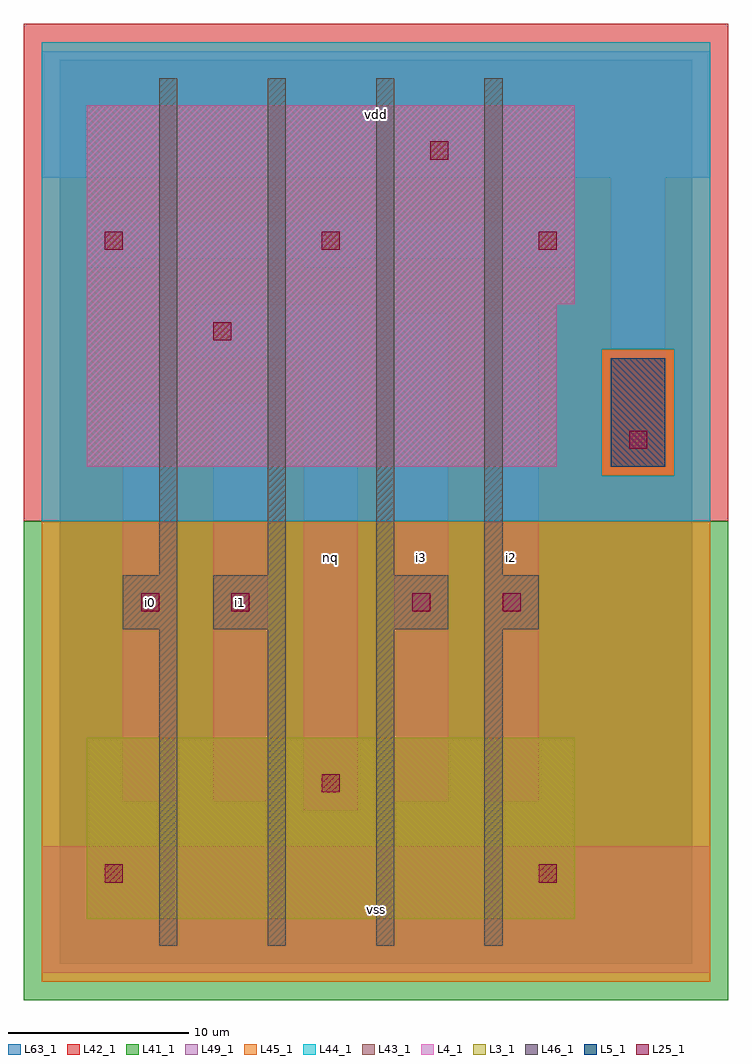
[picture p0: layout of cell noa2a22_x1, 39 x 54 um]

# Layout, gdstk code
import gdstk
lib = gdstk.Library(unit=1e-6, precision=1e-09)
def R(c, l, rs):  # rectangles x0, y0, x1, y1
    for r in rs: c.add(gdstk.rectangle(r[:2], r[2:], *l))
def A(c, l, x, y, w, h, nx, ny, dx, dy):  # array of equal rectangles
    R(c, l, [(x+i*dx, y+j*dy, x+i*dx+w, y+j*dy+h) for i in range(nx) for j in range(ny)])
L3_1 = (3, 1)
L4_1 = (4, 1)
L5_1 = (5, 1)
L25_1 = (25, 1)
L41_1 = (41, 1)
L42_1 = (42, 1)
L43_1 = (43, 1)
L44_1 = (44, 1)
L45_1 = (45, 1)
L46_1 = (46, 1)
L49_1 = (49, 1)
L63_1 = (63, 1)

noa2a22_x1 = lib.new_cell('noa2a22_x1')
R(noa2a22_x1, L3_1, [(1.5,2.5,28.5,12.5)])
R(noa2a22_x1, L4_1, [(1.5,27.5,27.5,36.5), (1.5,36.5,28.5,47.5)])
R(noa2a22_x1, L5_1, [(30.5,27.5,33.5,33.5)])
A(noa2a22_x1, L25_1, 2.5, 39.5, 1, 1, 3, 1, 12, 0)
R(noa2a22_x1, L25_1, [(2.5,4.5,3.5,5.5), (26.5,4.5,27.5,5.5), (14.5,9.5,15.5,10.5), (4.5,19.5,5.5,20.5), (9.5,19.5,10.5,20.5), (19.5,19.5,20.5,20.5), (24.5,19.5,25.5,20.5), (31.5,28.5,32.5,29.5), (8.5,34.5,9.5,35.5), (20.5,44.5,21.5,45.5)])
R(noa2a22_x1, L41_1, [(-2,-2,37,24.5)])
R(noa2a22_x1, L42_1, [(-2,24.5,37,52)])
R(noa2a22_x1, L43_1, [(1.5,2.5,28.5,12.5), (1.5,27.5,27.5,36.5), (30.5,27.5,33.5,33.5), (1.5,36.5,28.5,47.5)])
R(noa2a22_x1, L44_1, [(-1,24.5,36,27), (-1,27,30,34), (34,27,36,34), (-1,34,36,51)])
R(noa2a22_x1, L45_1, [(-1,-1,36,24.5), (30,27,34,34)])
A(noa2a22_x1, L46_1, 5.5, 1, 1, 17.5, 4, 1, 6, 0)
A(noa2a22_x1, L46_1, 5.5, 21.5, 1, 27.5, 4, 1, 6, 0)
R(noa2a22_x1, L46_1, [(3.5,18.5,6.5,21.5), (8.5,18.5,12.5,21.5), (17.5,18.5,21.5,21.5), (23.5,18.5,26.5,21.5)])
A(noa2a22_x1, L49_1, 1.5, 38.5, 3, 0.5, 3, 2, 12, 2.5)
R(noa2a22_x1, L49_1, [(-1,-0.5,36,6.5), (13.5,8.5,16.5,33.5), (3.5,9,6.5,31), (8.5,9,11.5,31), (18.5,9,21.5,36), (23.5,9,26.5,36), (30.5,27.5,33.5,43.5), (7.5,33.5,16.5,36.5), (1.5,39,28.5,41), (-1,43.5,36,50.5)])
R(noa2a22_x1, L63_1, [(0,0,35,50)])
noa2a22_x1.add(gdstk.Label('i0', (5,20), layer=49, texttype=1))
noa2a22_x1.add(gdstk.Label('i0', (5,20), layer=49, texttype=1))
noa2a22_x1.add(gdstk.Label('nq', (15,22.5), layer=49, texttype=1))
noa2a22_x1.add(gdstk.Label('i1', (10,20), layer=49, texttype=1))
noa2a22_x1.add(gdstk.Label('nq', (15,22.5), layer=49, texttype=1))
noa2a22_x1.add(gdstk.Label('i1', (10,20), layer=49, texttype=1))
noa2a22_x1.add(gdstk.Label('vss', (17.5,3), layer=49, texttype=1))
noa2a22_x1.add(gdstk.Label('vss', (17.5,3), layer=49, texttype=1))
noa2a22_x1.add(gdstk.Label('i2', (25,22.5), layer=49, texttype=1))
noa2a22_x1.add(gdstk.Label('i3', (20,22.5), layer=49, texttype=1))
noa2a22_x1.add(gdstk.Label('i2', (25,22.5), layer=49, texttype=1))
noa2a22_x1.add(gdstk.Label('i3', (20,22.5), layer=49, texttype=1))
noa2a22_x1.add(gdstk.Label('vdd', (17.5,47), layer=49, texttype=1))
noa2a22_x1.add(gdstk.Label('vdd', (17.5,47), layer=49, texttype=1))

lib.write_gds('noa2a22_x1.gds')
